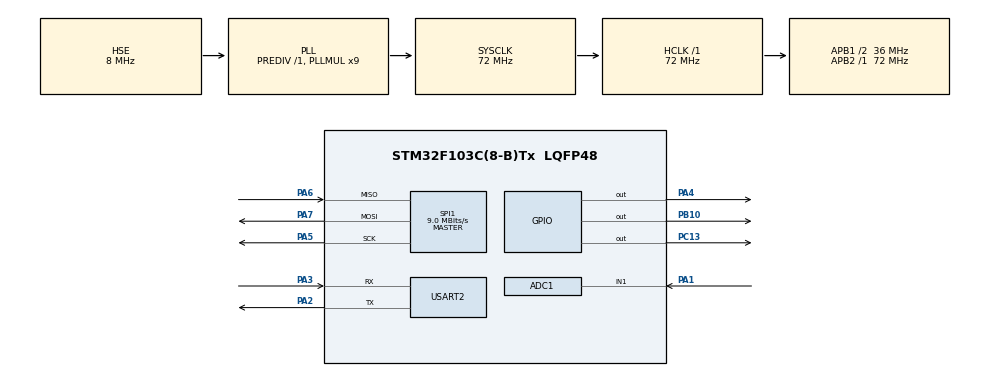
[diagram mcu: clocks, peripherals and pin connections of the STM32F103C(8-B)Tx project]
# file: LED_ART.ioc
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Mcu.Family=STM32F1
RCC.PLLSourceVirtual=RCC_PLLSOURCE_HSE
PA6.Mode=Full_Duplex_Master
ADC1.Rank-0\#ChannelRegularConversion=1
PA7.Mode=Full_Duplex_Master
PD1-OSC_OUT.Mode=HSE-External-Oscillator
SPI1.VirtualType=VM_MASTER
ADC1.ContinuousConvMode=ENABLE
PC13-TAMPER-RTC.Signal=GPIO_Output
PD0-OSC_IN.Signal=RCC_OSC_IN
RCC.APB1CLKDivider=RCC_HCLK_DIV2
NVIC.USART2_IRQn=true\:2\:0\:true\:false\:true\:true\:true
RCC.SYSCLKSource=RCC_SYSCLKSOURCE_PLLCLK
ProjectManager.StackSize=0x400
PD1-OSC_OUT.Signal=RCC_OSC_OUT
RCC.ADCPresc=RCC_ADCPCLK2_DIV6
PA13.Signal=SYS_JTMS-SWDIO
PA3.Mode=Asynchronous
ProjectManager.TargetToolchain=STM32CubeIDE
SPI1.Direction=SPI_DIRECTION_2LINES
RCC.HCLKFreq_Value=72000000
RCC.APB2TimFreq_Value=72000000
SPI1.CalculateBaudRate=9.0 MBits/s
RCC.USBFreq_Value=72000000
PA1.Signal=ADCx_IN1
RCC.AHBFreq_Value=72000000
PD0-OSC_IN.Mode=HSE-External-Oscillator
PB10.Signal=GPIO_Output
PA5.Signal=SPI1_SCK
ADC1.Channel-0\#ChannelRegularConversion=ADC_CHANNEL_1
board=custom
RCC.PLLMUL=RCC_PLL_MUL9
RCC.APB2Freq_Value=72000000
SPI1.Mode=SPI_MODE_MASTER
PA14.Mode=Serial_Wire
PA13.Mode=Serial_Wire
Mcu.Name=STM32F103C(8-B)Tx
ADC1.SamplingTime-0\#ChannelRegularConversion=ADC_SAMPLETIME_239CYCLES_5
PA2.Signal=USART2_TX
PA4.Signal=GPIO_Output
RCC.SYSCLKFreq_VALUE=72000000
Mcu.Package=LQFP48
PA6.Signal=SPI1_MISO
ADC1.master=1
USART2.VirtualMode=VM_ASYNC
PA14.Signal=SYS_JTCK-SWCLK
ProjectManager.HeapSize=0x200
NVIC.PriorityGroup=NVIC_PRIORITYGROUP_4
ADC1.NbrOfConversionFlag=1
SH.ADCx_IN1.0=ADC1_IN1,IN1
RCC.APB1TimFreq_Value=72000000
PA2.Mode=Asynchronous
RCC.APB1Freq_Value=36000000
SPI1.BaudRatePrescaler=SPI_BAUDRATEPRESCALER_8
PA3.Signal=USART2_RX
PA5.Mode=Full_Duplex_Master
PA7.Signal=SPI1_MOSI

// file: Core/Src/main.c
/* USER CODE BEGIN Header */
/**
  ******************************************************************************
  * @file           : main.c
  * @brief          : Main program body
  ******************************************************************************
  * @attention
  *
  * <h2><center>&copy; Copyright (c) 2022 STMicroelectronics.
  * All rights reserved.</center></h2>
  *
  * This software component is licensed by ST under BSD 3-Clause license,
  * the "License"; You may not use this file except in compliance with the
  * License. You may obtain a copy of the License at:
  *                        opensource.org/licenses/BSD-3-Clause
  *
  ******************************************************************************
  */
/* USER CODE END Header */
#include "main.h"

/* USER CODE BEGIN Includes */
#include "rc522.h"
#include "string.h"
uint8_t status;
uint8_t str[MFRC522_MAX_LEN];
uint8_t serNum[5];
/* USER CODE END Includes */

ADC_HandleTypeDef hadc1;

SPI_HandleTypeDef hspi1;

UART_HandleTypeDef huart2;

void SystemClock_Config(void);
static void MX_GPIO_Init(void);
static void MX_USART2_UART_Init(void);
static void MX_ADC1_Init(void);
static void MX_SPI1_Init(void);
/* USER CODE BEGIN PFP */

uint16_t value_adc;

char sendo[] = "LED1ON";
char rec,null;
char buffer[20];
uint8_t i=0;
/* USER CODE END PFP */

/* USER CODE BEGIN 0 */
void HAL_UART_RxCpltCallback(UART_HandleTypeDef *huart)
{
	if(huart->Instance == huart2.Instance)
		{
		if(rec!=13)
		{
			buffer[i++] = rec;
		}

		else if(rec == 13){
			i = 0;
			for(int cnt = 0; cnt < sizeof(buffer);cnt++)
			{
				buffer[cnt]= null;
			}

		}
		HAL_UART_Receive_IT(&huart2,(uint8_t*)&rec,1);

	}
}
/* USER CODE END 0 */

int main(void)
{

  /* MCU Configuration--------------------------------------------------------*/

  /* Reset of all peripherals, Initializes the Flash interface and the Systick. */
  HAL_Init();

  /* Configure the system clock */
  SystemClock_Config();

  /* Initialize all configured peripherals */
  MX_GPIO_Init();
  MX_USART2_UART_Init();
  MX_ADC1_Init();
  MX_SPI1_Init();
  /* USER CODE BEGIN 2 */
  HAL_UART_Receive_IT(&huart2,(uint8_t*)&rec,1);
  HAL_ADC_Start(&hadc1);
 // MFRC522_Init();
  /* USER CODE END 2 */

  /* Infinite loop */
  /* USER CODE BEGIN WHILE */
  while (1)
  {
//		status = MFRC522_Request(PICC_REQIDL, str);							// Find cards, return card type
//		if (status == MI_OK) status = MFRC522_Anticoll(str);
//		memcpy(serNum, str, 5);
//		if(status == MI_OK)
//		{
//			if(serNum[1] == 84 &&serNum[2] == 104 &&serNum[3] == 165 &&serNum[4] == 218 )
//			{
//				HAL_GPIO_TogglePin(GPIOC, GPIO_PIN_13);
//				HAL_Delay(1000);
//			}
//		}

//	DHT_GetData(&DHT11_Data);
//	Temperature = DHT11_Data.Temperature;
//	Humidity = DHT11_Data.Humidity;
//
//	value_adc = HAL_ADC_GetValue(&hadc1);

	HAL_GPIO_TogglePin(GPIOC, GPIO_PIN_13);
//
//	HAL_UART_Transmit(&huart2,sendo,sizeof(sendo),1000);
	HAL_Delay(1000);
    /* USER CODE END WHILE */

  }
}

void SystemClock_Config(void)
{
  RCC_OscInitTypeDef RCC_OscInitStruct = {0};
  RCC_ClkInitTypeDef RCC_ClkInitStruct = {0};
  RCC_PeriphCLKInitTypeDef PeriphClkInit = {0};

  /** Initializes the RCC Oscillators according to the specified parameters
  * in the RCC_OscInitTypeDef structure.
  */
  RCC_OscInitStruct.OscillatorType = RCC_OSCILLATORTYPE_HSE;
  RCC_OscInitStruct.HSEState = RCC_HSE_ON;
  RCC_OscInitStruct.HSEPredivValue = RCC_HSE_PREDIV_DIV1;
  RCC_OscInitStruct.HSIState = RCC_HSI_ON;
  RCC_OscInitStruct.PLL.PLLState = RCC_PLL_ON;
  RCC_OscInitStruct.PLL.PLLSource = RCC_PLLSOURCE_HSE;
  RCC_OscInitStruct.PLL.PLLMUL = RCC_PLL_MUL9;
  if (HAL_RCC_OscConfig(&RCC_OscInitStruct) != HAL_OK)
  {
    Error_Handler();
  }
  /** Initializes the CPU, AHB and APB buses clocks
  */
  RCC_ClkInitStruct.ClockType = RCC_CLOCKTYPE_HCLK|RCC_CLOCKTYPE_SYSCLK
                              |RCC_CLOCKTYPE_PCLK1|RCC_CLOCKTYPE_PCLK2;
  RCC_ClkInitStruct.SYSCLKSource = RCC_SYSCLKSOURCE_PLLCLK;
  RCC_ClkInitStruct.AHBCLKDivider = RCC_SYSCLK_DIV1;
  RCC_ClkInitStruct.APB1CLKDivider = RCC_HCLK_DIV2;
  RCC_ClkInitStruct.APB2CLKDivider = RCC_HCLK_DIV1;

  if (HAL_RCC_ClockConfig(&RCC_ClkInitStruct, FLASH_LATENCY_2) != HAL_OK)
  {
    Error_Handler();
  }
  PeriphClkInit.PeriphClockSelection = RCC_PERIPHCLK_ADC;
  PeriphClkInit.AdcClockSelection = RCC_ADCPCLK2_DIV6;
  if (HAL_RCCEx_PeriphCLKConfig(&PeriphClkInit) != HAL_OK)
  {
    Error_Handler();
  }
}

static void MX_ADC1_Init(void)
{

  ADC_ChannelConfTypeDef sConfig = {0};

  /** Common config
  */
  hadc1.Instance = ADC1;
  hadc1.Init.ScanConvMode = ADC_SCAN_DISABLE;
  hadc1.Init.ContinuousConvMode = ENABLE;
  hadc1.Init.DiscontinuousConvMode = DISABLE;
  hadc1.Init.ExternalTrigConv = ADC_SOFTWARE_START;
  hadc1.Init.DataAlign = ADC_DATAALIGN_RIGHT;
  hadc1.Init.NbrOfConversion = 1;
  if (HAL_ADC_Init(&hadc1) != HAL_OK)
  {
    Error_Handler();
  }
  /** Configure Regular Channel
  */
  sConfig.Channel = ADC_CHANNEL_1;
  sConfig.Rank = ADC_REGULAR_RANK_1;
  sConfig.SamplingTime = ADC_SAMPLETIME_239CYCLES_5;
  if (HAL_ADC_ConfigChannel(&hadc1, &sConfig) != HAL_OK)
  {
    Error_Handler();
  }

}

static void MX_SPI1_Init(void)
{

  /* SPI1 parameter configuration*/
  hspi1.Instance = SPI1;
  hspi1.Init.Mode = SPI_MODE_MASTER;
  hspi1.Init.Direction = SPI_DIRECTION_2LINES;
  hspi1.Init.DataSize = SPI_DATASIZE_8BIT;
  hspi1.Init.CLKPolarity = SPI_POLARITY_LOW;
  hspi1.Init.CLKPhase = SPI_PHASE_1EDGE;
  hspi1.Init.NSS = SPI_NSS_SOFT;
  hspi1.Init.BaudRatePrescaler = SPI_BAUDRATEPRESCALER_8;
  hspi1.Init.FirstBit = SPI_FIRSTBIT_MSB;
  hspi1.Init.TIMode = SPI_TIMODE_DISABLE;
  hspi1.Init.CRCCalculation = SPI_CRCCALCULATION_DISABLE;
  hspi1.Init.CRCPolynomial = 10;
  if (HAL_SPI_Init(&hspi1) != HAL_OK)
  {
    Error_Handler();
  }

}

static void MX_USART2_UART_Init(void)
{

  huart2.Instance = USART2;
  huart2.Init.BaudRate = 115200;
  huart2.Init.WordLength = UART_WORDLENGTH_8B;
  huart2.Init.StopBits = UART_STOPBITS_1;
  huart2.Init.Parity = UART_PARITY_NONE;
  huart2.Init.Mode = UART_MODE_TX_RX;
  huart2.Init.HwFlowCtl = UART_HWCONTROL_NONE;
  huart2.Init.OverSampling = UART_OVERSAMPLING_16;
  if (HAL_UART_Init(&huart2) != HAL_OK)
  {
    Error_Handler();
  }

}

static void MX_GPIO_Init(void)
{
  GPIO_InitTypeDef GPIO_InitStruct = {0};

  /* GPIO Ports Clock Enable */
  __HAL_RCC_GPIOC_CLK_ENABLE();
  __HAL_RCC_GPIOD_CLK_ENABLE();
  __HAL_RCC_GPIOA_CLK_ENABLE();
  __HAL_RCC_GPIOB_CLK_ENABLE();

  /*Configure GPIO pin Output Level */
  HAL_GPIO_WritePin(GPIOC, GPIO_PIN_13, GPIO_PIN_RESET);

  /*Configure GPIO pin Output Level */
  HAL_GPIO_WritePin(GPIOA, GPIO_PIN_4, GPIO_PIN_RESET);

  /*Configure GPIO pin Output Level */
  HAL_GPIO_WritePin(GPIOB, GPIO_PIN_10, GPIO_PIN_RESET);

  /*Configure GPIO pin : PC13 */
  GPIO_InitStruct.Pin = GPIO_PIN_13;
  GPIO_InitStruct.Mode = GPIO_MODE_OUTPUT_PP;
  GPIO_InitStruct.Pull = GPIO_NOPULL;
  GPIO_InitStruct.Speed = GPIO_SPEED_FREQ_LOW;
  HAL_GPIO_Init(GPIOC, &GPIO_InitStruct);

  /*Configure GPIO pin : PA4 */
  GPIO_InitStruct.Pin = GPIO_PIN_4;
  GPIO_InitStruct.Mode = GPIO_MODE_OUTPUT_PP;
  GPIO_InitStruct.Pull = GPIO_NOPULL;
  GPIO_InitStruct.Speed = GPIO_SPEED_FREQ_LOW;
  HAL_GPIO_Init(GPIOA, &GPIO_InitStruct);

  /*Configure GPIO pin : PB10 */
  GPIO_InitStruct.Pin = GPIO_PIN_10;
  GPIO_InitStruct.Mode = GPIO_MODE_OUTPUT_PP;
  GPIO_InitStruct.Pull = GPIO_NOPULL;
  GPIO_InitStruct.Speed = GPIO_SPEED_FREQ_LOW;
  HAL_GPIO_Init(GPIOB, &GPIO_InitStruct);

}

void Error_Handler(void)
{
  __disable_irq();
  while (1)
  {
  }
}

/************************ (C) COPYRIGHT STMicroelectronics *****END OF FILE****/
